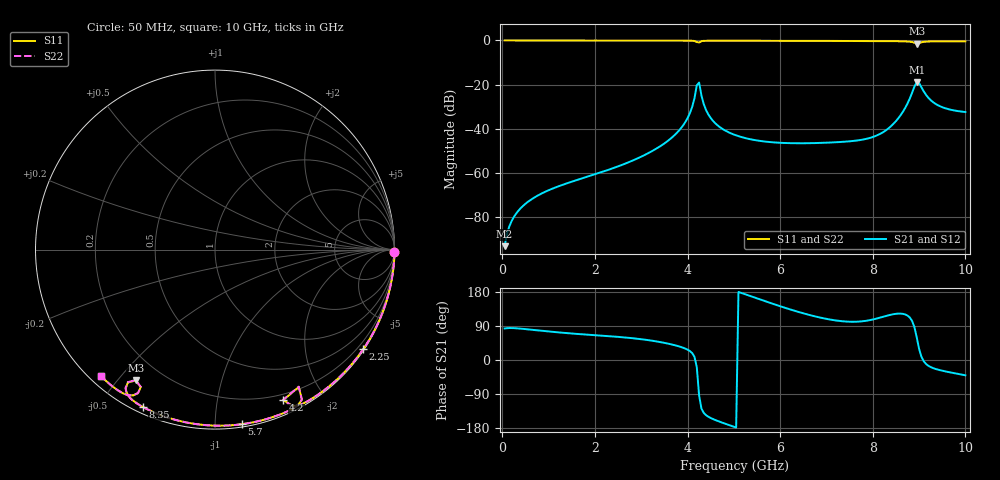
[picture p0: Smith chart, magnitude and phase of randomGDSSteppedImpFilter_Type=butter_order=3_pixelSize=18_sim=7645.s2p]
! freq	dB(S11)	phase(S11)	dB(S12)	phase(S12)
!  dB(S21)	phase(S21)	dB(S22)	phase(S22)
!S-par simulation data
#  GHz  S  DB  R 50
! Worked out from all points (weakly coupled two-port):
!   200 points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, 50 MHz to 10 GHz, reference 50 ohm
!   highest |S21| = -18.96 dB at 8.95 GHz (marker M1); lowest = -93.3 dB at 50 MHz (marker M2)
!   lowest |S11| = -1.4 dB at 8.95 GHz (marker M3), VSWR 12.52, Z = 5.25 - j27.9 ohm
!   |S11| at or under -10 dB: nowhere
!   |S22| runs from -1.4 to 0.0 dB; largest |S21 - S12| = 0
!   S11 on the Smith chart (normalised r, x): 50 MHz: open; 2.25 GHz: 0.03, -3.28; 4.2 GHz: 0.14, -1.54; 5.7 GHz: 0.02, -1.17; 8.35 GHz: 0.03, -0.64; 10 GHz: 0.03, -0.44
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0.05  -0.00 -0.8  -93.32 83.1  -93.32 83.1  -0.00 -0.8
0.25  -0.00 -3.8  -80.09 84.1  -80.09 84.1  -0.00 -3.9
0.5  -0.01 -7.7  -74.09 81.5  -74.09 81.5  -0.01 -7.7
0.85  -0.02 -13.0  -69.42 77.1  -69.42 77.1  -0.02 -13.0
1.75  -0.03 -26.5  -62.38 67.6  -62.38 67.6  -0.03 -26.5
2.25  -0.04 -33.9  -58.98 63.3  -58.98 63.3  -0.04 -34.0
3.4  -0.07 -50.7  -48.13 47.6  -48.13 47.6  -0.07 -50.7
3.95  -0.09 -58.9  -37.08 30.2  -37.08 30.2  -0.09 -59.0
4.1  -0.14 -62.0  -30.17 18.3  -30.17 18.3  -0.15 -62.0
4.2  -0.72 -65.6  -20.32 -18.9  -20.32 -18.9  -0.73 -65.7
4.25  -0.95 -58.6  -19.10 -93.6  -19.10 -93.6  -0.96 -58.6
4.35  -0.17 -61.6  -28.87 -139.5  -28.87 -139.5  -0.18 -61.6
4.5  -0.11 -64.7  -35.19 -153.0  -35.19 -153.0  -0.12 -64.7
5.05  -0.12 -72.6  -43.05 -178.3  -43.05 -178.3  -0.12 -72.7
5.7  -0.14 -81.2  -45.92 154.2  -45.92 154.2  -0.14 -81.3
6.7  -0.18 -94.0  -46.57 116.7  -46.57 116.7  -0.18 -94.1
7.8  -0.26 -107.6  -44.91 102.5  -44.91 102.5  -0.26 -107.7
8.35  -0.31 -114.5  -39.68 118.3  -39.68 118.3  -0.31 -114.6
8.65  -0.39 -118.9  -32.37 121.8  -32.37 121.8  -0.39 -119.0
8.95  -1.39 -121.3  -18.96 59.4  -18.96 59.4  -1.41 -121.4
9.35  -0.43 -123.8  -28.69 -23.4  -28.69 -23.4  -0.43 -123.8
10  -0.46 -132.1  -32.45 -40.4  -32.45 -40.4  -0.46 -132.2
